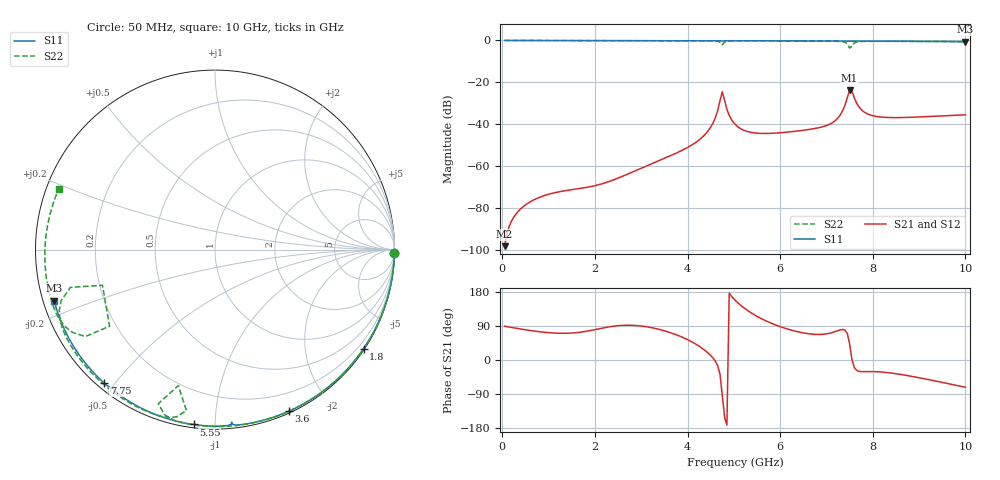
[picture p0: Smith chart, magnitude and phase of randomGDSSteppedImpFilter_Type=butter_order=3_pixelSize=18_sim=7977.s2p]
! freq	dB(S11)	phase(S11)	dB(S12)	phase(S12)
!  dB(S21)	phase(S21)	dB(S22)	phase(S22)
!S-par simulation data
#  GHz  S  DB  R 50
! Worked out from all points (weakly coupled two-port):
!   200 points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, 50 MHz to 10 GHz, reference 50 ohm
!   highest |S21| = -23.69 dB at 7.5 GHz (marker M1); lowest = -98.0 dB at 50 MHz (marker M2)
!   lowest |S11| = -0.5 dB at 10 GHz (marker M3), VSWR 32.35, Z = 1.58 - j7.72 ohm
!   |S11| at or under -10 dB: nowhere
!   |S22| runs from -3.6 to 0.0 dB; largest |S21 - S12| = 0
!   S11 on the Smith chart (normalised r, x): 50 MHz: open; 1.8 GHz: 0.03, -3.30; 3.6 GHz: 0.02, -1.55; 5.55 GHz: 0.02, -0.88; 7.75 GHz: 0.02, -0.47; 10 GHz: 0.03, -0.15
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0.05  -0.00 -1.0  -98.03 89.0  -98.03 89.0  -0.00 -1.2
0.4  -0.01 -7.6  -80.18 81.7  -80.18 81.7  -0.02 -9.7
0.9  -0.02 -17.0  -73.97 73.3  -73.97 73.3  -0.03 -21.7
1.75  -0.04 -32.8  -70.28 74.5  -70.28 74.5  -0.05 -41.6
1.8  -0.04 -33.7  -70.10 75.5  -70.10 75.5  -0.05 -42.7
3.4  -0.08 -62.1  -57.13 80.4  -57.13 80.4  -0.10 -78.1
3.6  -0.09 -65.5  -55.24 73.3  -55.24 73.3  -0.11 -82.3
4.4  -0.11 -78.9  -44.27 23.0  -44.27 23.0  -0.15 -99.4
4.6  -0.13 -82.3  -36.84 -3.0  -36.84 -3.0  -0.24 -104.9
4.7  -0.19 -84.2  -28.77 -36.4  -28.77 -36.4  -0.78 -110.2
4.75  -0.30 -84.5  -24.47 -94.1  -24.47 -94.1  -2.10 -105.1
4.9  -0.15 -86.6  -35.72 176.7  -35.72 176.7  -0.27 -105.1
5.05  -0.14 -89.1  -40.43 155.1  -40.43 155.1  -0.20 -109.3
5.55  -0.16 -97.0  -44.28 111.8  -44.28 111.8  -0.20 -119.7
6.7  -0.22 -114.4  -42.15 68.1  -42.15 68.1  -0.28 -141.9
7.25  -0.27 -122.6  -36.88 77.7  -36.88 77.7  -0.44 -154.6
7.4  -0.30 -124.9  -30.81 78.7  -30.81 78.7  -0.87 -161.6
7.5  -0.37 -126.2  -23.69 42.4  -23.69 42.4  -3.64 -162.4
7.6  -0.31 -127.2  -27.25 -19.7  -27.25 -19.7  -1.21 -146.1
7.75  -0.30 -129.6  -32.94 -30.7  -32.94 -30.7  -0.48 -154.7
8.35  -0.35 -138.4  -36.73 -33.7  -36.73 -33.7  -0.42 -169.0
10  -0.54 -162.4  -35.43 -72.0  -35.43 -72.0  -0.59 158.6
